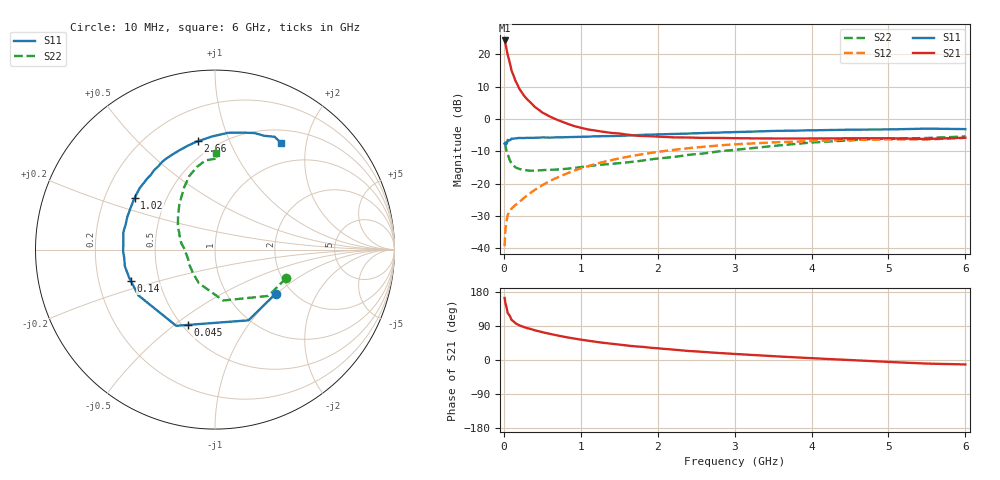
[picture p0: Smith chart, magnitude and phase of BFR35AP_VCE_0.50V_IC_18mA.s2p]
! Infineon Technologies  Discrete & RF Semiconductors
! BFR35AP
! VCE = 0.50 V,  IC =  18 mA
! Common Emitter S-Parameters:  Nov 2015
# GHz  S  MA  R  50
!  f  S11  S21  S12  S22
! GHz  MAG  ANG  MAG  ANG  MAG  ANG  MAG  ANG
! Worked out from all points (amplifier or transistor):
!   210 points, 10 MHz to 6 GHz, reference 50 ohm
!   highest |S21| = 24.3 dB at 10 MHz (marker M1)
!   |S21| within 3 dB of that: start of sweep to 37.54 MHz
!   unconditionally stable (mu >= 1): start of sweep to end of sweep
!   at 185 MHz: K = 2.28, MAG = 11.7 dB, |S12| = -26.0 dB
!   at 1.52 GHz: K = 2.44, MAG = -2.9 dB, |S12| = -12.1 dB
!   at 6 GHz: K = 1.19, MAG = -2.6 dB, |S12| = -5.8 dB
!   S11 on the Smith chart (normalised r, x): 10 MHz: 1.66, -0.99; 45 MHz: 0.54, -0.56; 140 MHz: 0.34, -0.16; 1.02 GHz: 0.33, +0.26; 2.66 GHz: 0.40, +0.77; 6 GHz: 0.68, +1.58
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0.01  0.418 -35.9  16.44 163.8  0.0108 69.6  0.4268 -21.9
0.02  0.4359 -64.7  14.96 149.9  0.0197 62.1  0.3933 -41.0
0.045  0.4452 -109.6  10.47 129.7  0.0307 47.3  0.2927 -72.6
0.05  0.4764 -117.0  9.819 123.6  0.0331 45.6  0.2872 -80.9
0.1  0.4974 -149.2  5.617 105.6  0.041 40.6  0.2071 -115.9
0.14  0.5002 -159.4  4.251 99.2  0.0456 43.0  0.1839 -128.9
0.15  0.5033 -161.9  3.922 96.9  0.0467 43.5  0.1798 -132.6
0.2  0.5108 -169.7  2.963 91.4  0.052 47.1  0.1693 -144.3
0.24  0.5079 -173.9  2.505 88.2  0.0573 49.4  0.1654 -150.7
0.3  0.5122 -178.8  2.037 84.3  0.0655 52.7  0.1601 -156.7
0.4  0.5127 174.2  1.549 78.5  0.0798 56.3  0.1588 -164.1
0.5  0.5199 169.4  1.263 73.3  0.0946 58.3  0.1621 -170.2
0.6  0.5171 164.4  1.09 68.7  0.1102 59.2  0.1642 -174.2
0.8  0.523 156.3  0.867 60.6  0.141 58.7  0.1692 179.7
1.02  0.5326 147.2  0.724 53.1  0.1756 57.2  0.1821 172.9
1.4  0.5469 134.0  0.61 43.0  0.2319 52.0  0.2029 162.8
2.02  0.5789 115.3  0.534 30.5  0.3131 41.9  0.2466 147.0
2.66  0.6114 98.9  0.511 20.5  0.3784 31.2  0.3009 132.1
3.1  0.6332 90.3  0.504 14.8  0.4116 24.0  0.3429 123.5
4.1  0.6724 75.6  0.501 3.8  0.4599 10.0  0.4404 107.9
5.1  0.6947 65.6  0.502 -6.0  0.4848 -1.7  0.5008 94.5
6  0.6992 58.2  0.515 -11.7  0.5111 -9.7  0.5376 89.7
